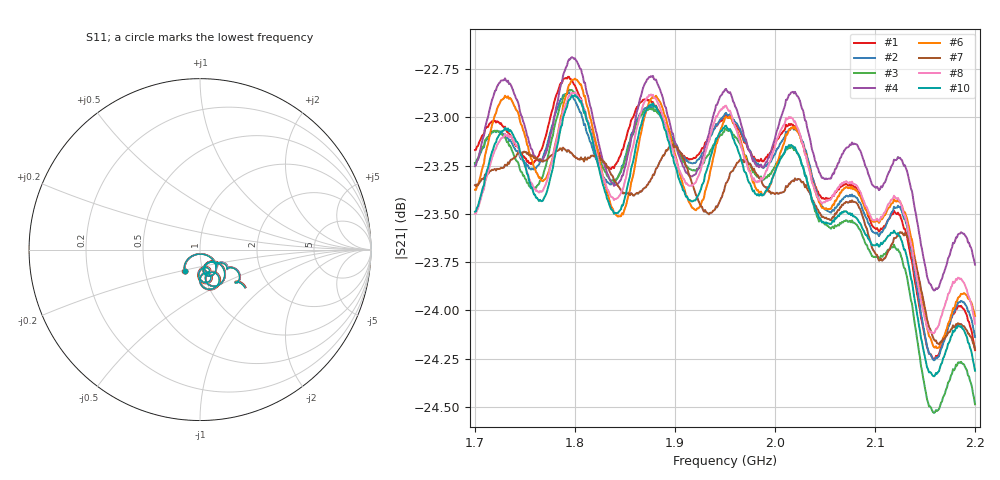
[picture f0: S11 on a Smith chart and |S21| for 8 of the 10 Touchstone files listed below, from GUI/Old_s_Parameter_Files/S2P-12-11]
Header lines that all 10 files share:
# Hz S RI R 50
! CMT, CMT808U, 21440046, 21.4.3/4
! Data: Format (Calibration Info)
! Freq	S11:Re/Im(F2)	S41:Re/Im(F2)	S14:Re/Im(F2)	S44:Re/Im(F2)
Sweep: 1.7 GHz to 2.2 GHz
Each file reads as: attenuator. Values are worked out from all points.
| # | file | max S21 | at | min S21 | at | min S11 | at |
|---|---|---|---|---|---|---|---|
| 1 | Port2.s2p | -22.79 dB | 1.793 GHz | -24.3 dB | 2.159 GHz | -31.9 dB | 1.724 GHz |
| 2 | Port3.s2p | -22.87 dB | 1.793 GHz | -24.3 dB | 2.159 GHz | -32.0 dB | 1.724 GHz |
| 3 | Port4.s2p | -22.86 dB | 1.794 GHz | -24.5 dB | 2.159 GHz | -31.9 dB | 1.724 GHz |
| 4 | Port6.s2p | -22.69 dB | 1.797 GHz | -23.9 dB | 2.159 GHz | -31.7 dB | 1.724 GHz |
| 5 | Port7.s2p | -22.76 dB | 1.797 GHz | -24.0 dB | 2.159 GHz | -31.7 dB | 1.724 GHz |
| 6 | Port8.s2p | -22.80 dB | 1.8 GHz | -24.2 dB | 2.162 GHz | -31.6 dB | 1.724 GHz |
| 7 | Port12.s2p | -23.14 dB | 1.898 GHz | -24.2 dB | 2.2 GHz | -32.2 dB | 1.723 GHz |
| 8 | Port14.s2p | -22.87 dB | 1.8 GHz | -24.1 dB | 2.158 GHz | -31.7 dB | 1.724 GHz |
| 9 | Port15.s2p | -22.94 dB | 1.878 GHz | -24.2 dB | 2.159 GHz | -31.7 dB | 1.724 GHz |
| 10 | Port16.s2p | -22.89 dB | 1.8 GHz | -24.3 dB | 2.159 GHz | -31.6 dB | 1.724 GHz |
